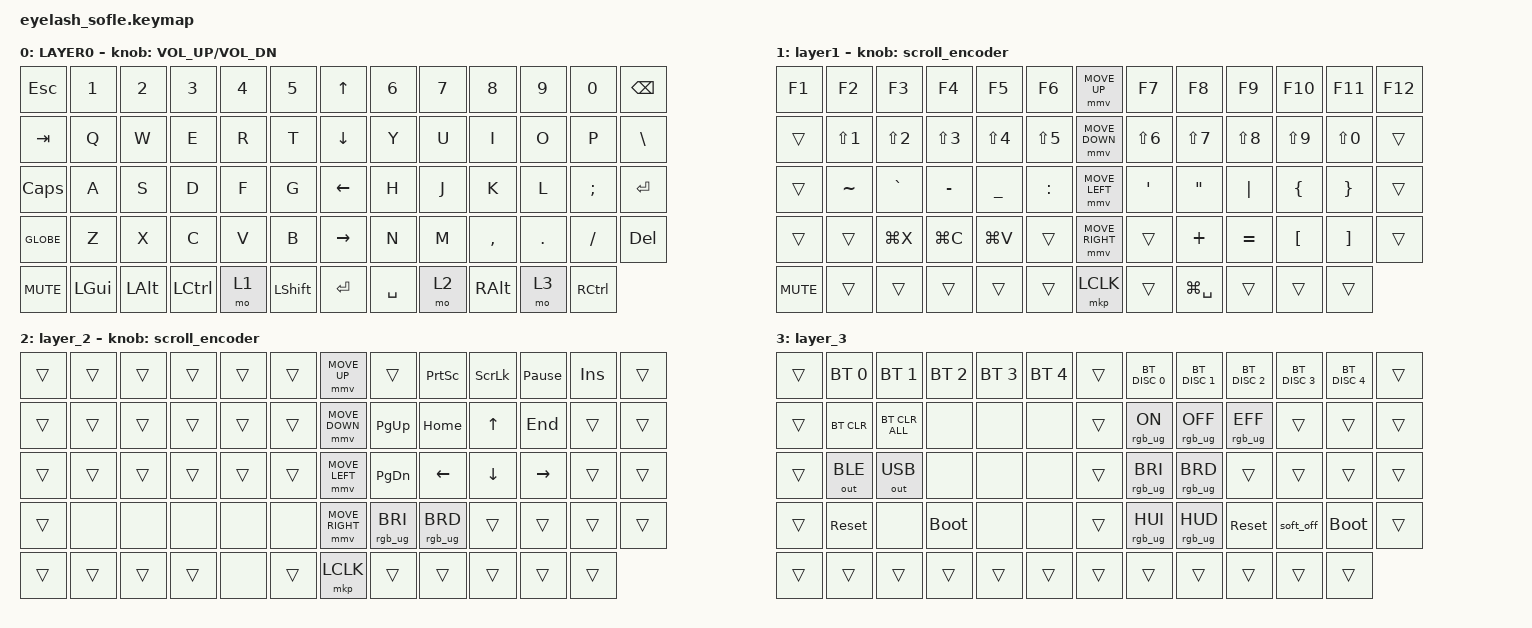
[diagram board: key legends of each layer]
#define ZMK_POINTING_DEFAULT_MOVE_VAL 1200  // 600
#define ZMK_POINTING_DEFAULT_SCRL_VAL 25   // 10

#include <input/processors.dtsi>
#include <zephyr/dt-bindings/input/input-event-codes.h>
#include <behaviors.dtsi>
#include <dt-bindings/zmk/bt.h>
#include <dt-bindings/zmk/keys.h>
#include <dt-bindings/zmk/outputs.h>
#include <dt-bindings/zmk/pointing.h>
#include <dt-bindings/zmk/rgb.h>

&mmv_input_listener { input-processors = <&zip_xy_scaler 2 1>; };

&msc_input_listener { input-processors = <&zip_scroll_scaler 2 1>; };

&msc {
    acceleration-exponent = <1>;      // 0
    time-to-max-speed-ms = <100>;       // 300
    delay-ms = <0>;                   // 0
};

&mmv {
    time-to-max-speed-ms = <500>;
    acceleration-exponent = <1>;
    trigger-period-ms = <16>;
};

/ {
    scroll_encoder: scroll_encoder {
        compatible = "zmk,behavior-sensor-rotate";
        #sensor-binding-cells = <0>;
        bindings = <&msc SCRL_DOWN>, <&msc SCRL_UP>;

        tap-ms = <100>;
    };

    behaviors {
    };

    combos { compatible = "zmk,combos"; };

    keymap {
        compatible = "zmk,keymap";

        layer0 {
            bindings = <
&kp ESC     &kp N1        &kp N2        &kp N3     &kp N4  &kp N5            &kp UP_ARROW     &kp N6     &kp N7  &kp N8         &kp N9   &kp N0     &kp BACKSPACE
&kp TAB     &kp Q         &kp W         &kp E      &kp R   &kp T             &kp DOWN_ARROW   &kp Y      &kp U   &kp I          &kp O    &kp P      &kp BSLH
&kp CAPS    &kp A         &kp S         &kp D      &kp F   &kp G             &kp LEFT_ARROW   &kp H      &kp J   &kp K          &kp L    &kp SEMI   &kp RETURN
&kp GLOBE   &kp Z         &kp X         &kp C      &kp V   &kp B             &kp RIGHT_ARROW  &kp N      &kp M   &kp COMMA      &kp DOT  &kp FSLH   &kp DELETE
&kp C_MUTE  &kp LEFT_GUI  &kp LEFT_ALT  &kp LCTRL  &mo 1   &kp LEFT_SHIFT    &kp ENTER        &kp SPACE  &mo 2   &kp RIGHT_ALT  &mo 3    &kp RCTRL
            >;

            sensor-bindings = <&inc_dec_kp C_VOLUME_UP C_VOL_DN>;
            display-name = "LAYER0";
        };

        layer_1 {
            bindings = <
&kp F1      &kp F2            &kp F3            &kp F4            &kp F5            &kp F6              &mmv MOVE_UP     &kp F7            &kp F8             &kp F9            &kp F10           &kp F11            &kp F12
&trans      &kp LS(NUMBER_1)  &kp LS(NUMBER_2)  &kp LS(NUMBER_3)  &kp LS(NUMBER_4)  &kp LS(NUMBER_5)    &mmv MOVE_DOWN   &kp LS(NUMBER_6)  &kp LS(NUMBER_7)   &kp LS(NUMBER_8)  &kp LS(NUMBER_9)  &kp LS(NUMBER_0)   &trans
&trans      &kp TILDE         &kp GRAVE         &kp MINUS         &kp UNDERSCORE    &kp COLON           &mmv MOVE_LEFT   &kp SQT           &kp DOUBLE_QUOTES  &kp PIPE          &kp LEFT_BRACE    &kp RIGHT_BRACE    &trans
&trans      &trans            &kp LG(X)         &kp LG(C)         &kp LG(V)         &trans              &mmv MOVE_RIGHT  &trans            &kp PLUS           &kp EQUAL         &kp LEFT_BRACKET  &kp RIGHT_BRACKET  &trans
&kp C_MUTE  &trans            &trans            &trans            &trans            &trans              &mkp LCLK        &trans            &kp LG(SPACE)      &trans            &trans            &trans
            >;

            display-name = "layer1";
            sensor-bindings = <&scroll_encoder>;
        };

        layer_2 {
            bindings = <
&trans  &trans  &trans  &trans  &trans  &trans    &mmv MOVE_UP     &trans           &kp PRINTSCREEN  &kp SCROLLLOCK  &kp PAUSE_BREAK  &kp INSERT  &trans
&trans  &trans  &trans  &trans  &trans  &trans    &mmv MOVE_DOWN   &kp PAGE_UP      &kp HOME         &kp UP_ARROW    &kp END          &trans      &trans
&trans  &trans  &trans  &trans  &trans  &trans    &mmv MOVE_LEFT   &kp PAGE_DOWN    &kp LEFT_ARROW   &kp DOWN_ARROW  &kp RIGHT_ARROW  &trans      &trans
&trans  &none   &none   &none   &none   &none     &mmv MOVE_RIGHT  &rgb_ug RGB_BRI  &rgb_ug RGB_BRD  &trans          &trans           &trans      &trans
&trans  &trans  &trans  &trans  &none   &trans    &mkp LCLK        &trans           &trans           &trans          &trans           &trans
            >;

            sensor-bindings = <&scroll_encoder>;
        };

        layer_3 {
            bindings = <
&trans  &bt BT_SEL 0  &bt BT_SEL 1    &bt BT_SEL 2  &bt BT_SEL 3  &bt BT_SEL 4    &trans  &bt BT_DISC 0    &bt BT_DISC 1    &bt BT_DISC 2    &bt BT_DISC 3  &bt BT_DISC 4  &trans
&trans  &bt BT_CLR    &bt BT_CLR_ALL  &none         &none         &none           &trans  &rgb_ug RGB_ON   &rgb_ug RGB_OFF  &rgb_ug RGB_EFF  &trans         &trans         &trans
&trans  &out OUT_BLE  &out OUT_USB    &none         &none         &none           &trans  &rgb_ug RGB_BRI  &rgb_ug RGB_BRD  &trans           &trans         &trans         &trans
&trans  &sys_reset    &none           &bootloader   &none         &none           &trans  &rgb_ug RGB_HUI  &rgb_ug RGB_HUD  &sys_reset       &soft_off      &bootloader    &trans
&trans  &trans        &trans          &trans        &trans        &trans          &trans  &trans           &trans           &trans           &trans         &trans
            >;
        };
    };
};
